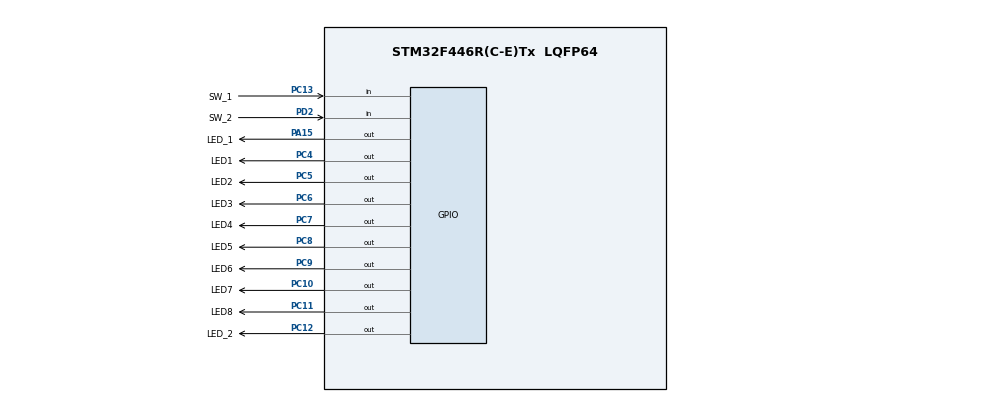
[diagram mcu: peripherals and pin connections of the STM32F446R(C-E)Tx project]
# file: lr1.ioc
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Mcu.Family=STM32F4
Mcu.Name=STM32F446R(C-E)Tx
Mcu.Package=LQFP64
NVIC.PriorityGroup=NVIC_PRIORITYGROUP_4
PA15.GPIO_Label=LED_1
PA15.Signal=GPIO_Output
PC10.GPIO_Label=LED7
PC10.Signal=GPIO_Output
PC11.GPIO_Label=LED8
PC11.Signal=GPIO_Output
PC12.GPIO_Label=LED_2
PC12.Signal=GPIO_Output
PC13.GPIO_Label=SW_1
PC13.Signal=GPIO_Input
PC4.GPIO_Label=LED1
PC4.Signal=GPIO_Output
PC5.GPIO_Label=LED2
PC5.Signal=GPIO_Output
PC6.GPIO_Label=LED3
PC6.Signal=GPIO_Output
PC7.GPIO_Label=LED4
PC7.Signal=GPIO_Output
PC8.GPIO_Label=LED5
PC8.Signal=GPIO_Output
PC9.GPIO_Label=LED6
PC9.Signal=GPIO_Output
PD2.GPIO_Label=SW_2
PD2.Signal=GPIO_Input
ProjectManager.HeapSize=0x200
ProjectManager.StackSize=0x400
ProjectManager.TargetToolchain=STM32CubeIDE
RCC.CortexFreq_Value=16000000
RCC.USBFreq_Value=96000000
RCC.VCOOutputFreq_Value=192000000
board=custom

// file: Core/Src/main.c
/* USER CODE BEGIN Header */
/**
  ******************************************************************************
  * @file           : main.c
  * @brief          : Main program body
  ******************************************************************************
  * @attention
  *
  * Copyright (c) 2024 STMicroelectronics.
  * All rights reserved.
  *
  * This software is licensed under terms that can be found in the LICENSE file
  * in the root directory of this software component.
  * If no LICENSE file comes with this software, it is provided AS-IS.
  *
  ******************************************************************************
  */
/* USER CODE END Header */
#include "main.h"

void SystemClock_Config(void);
static void MX_GPIO_Init(void);

int main(void)
{

  /* MCU Configuration--------------------------------------------------------*/

  /* Reset of all peripherals, Initializes the Flash interface and the Systick. */
  HAL_Init();

  /* Configure the system clock */
  SystemClock_Config();

  /* Initialize all configured peripherals */
  MX_GPIO_Init();

  /* Infinite loop */
  /* USER CODE BEGIN WHILE */
  uint32_t leds_pin_arr[] = {LED1_Pin, LED2_Pin, LED3_Pin, LED4_Pin, LED5_Pin, LED6_Pin, LED7_Pin, LED8_Pin};
  int32_t counter = 0;
  int32_t previous;
  GPIO_PinState prev_red_btn_pressed = 0;
  GPIO_PinState prev_blue_btn_pressed = 0;
  while (1)
  {
	  if(!counter) {
		  previous = 7;
	  } else {
		  previous = counter - 1;
	  }

	  GPIO_PinState blue_btn_pressed = HAL_GPIO_ReadPin(SW_1_GPIO_Port, SW_1_Pin);
	  GPIO_PinState red_btn_pressed = HAL_GPIO_ReadPin(SW_2_GPIO_Port, SW_2_Pin);
	  if(!blue_btn_pressed && prev_blue_btn_pressed) {
		  HAL_GPIO_WritePin(LED_1_GPIO_Port, LED_1_Pin, 1);
		  HAL_GPIO_WritePin(GPIOC, leds_pin_arr[previous], 1);
		  HAL_GPIO_WritePin(GPIOC, leds_pin_arr[counter], 0);

		  counter = previous;
	  }
	  else {
		  HAL_GPIO_WritePin(LED_1_GPIO_Port, LED_1_Pin, 0);

		  if(!red_btn_pressed && prev_red_btn_pressed) {
			  HAL_GPIO_WritePin(LED_2_GPIO_Port, LED_2_Pin, 1);
			  HAL_GPIO_WritePin(GPIOC, leds_pin_arr[previous], 0);
			  HAL_GPIO_WritePin(GPIOC, leds_pin_arr[counter], 1);

			  counter += 1;
			  counter %= 8;
		  }
		  else
			  HAL_GPIO_WritePin(LED_2_GPIO_Port, LED_2_Pin, 0);
	  }
	  prev_red_btn_pressed = red_btn_pressed;
	  prev_blue_btn_pressed = blue_btn_pressed;

	  HAL_Delay(75);
    /* USER CODE END WHILE */

  }
}

void SystemClock_Config(void)
{
  RCC_OscInitTypeDef RCC_OscInitStruct = {0};
  RCC_ClkInitTypeDef RCC_ClkInitStruct = {0};

  /** Configure the main internal regulator output voltage
  */
  __HAL_RCC_PWR_CLK_ENABLE();
  __HAL_PWR_VOLTAGESCALING_CONFIG(PWR_REGULATOR_VOLTAGE_SCALE3);

  /** Initializes the RCC Oscillators according to the specified parameters
  * in the RCC_OscInitTypeDef structure.
  */
  RCC_OscInitStruct.OscillatorType = RCC_OSCILLATORTYPE_HSI;
  RCC_OscInitStruct.HSIState = RCC_HSI_ON;
  RCC_OscInitStruct.HSICalibrationValue = RCC_HSICALIBRATION_DEFAULT;
  RCC_OscInitStruct.PLL.PLLState = RCC_PLL_NONE;
  if (HAL_RCC_OscConfig(&RCC_OscInitStruct) != HAL_OK)
  {
    Error_Handler();
  }

  /** Initializes the CPU, AHB and APB buses clocks
  */
  RCC_ClkInitStruct.ClockType = RCC_CLOCKTYPE_HCLK|RCC_CLOCKTYPE_SYSCLK
                              |RCC_CLOCKTYPE_PCLK1|RCC_CLOCKTYPE_PCLK2;
  RCC_ClkInitStruct.SYSCLKSource = RCC_SYSCLKSOURCE_HSI;
  RCC_ClkInitStruct.AHBCLKDivider = RCC_SYSCLK_DIV1;
  RCC_ClkInitStruct.APB1CLKDivider = RCC_HCLK_DIV1;
  RCC_ClkInitStruct.APB2CLKDivider = RCC_HCLK_DIV1;

  if (HAL_RCC_ClockConfig(&RCC_ClkInitStruct, FLASH_LATENCY_0) != HAL_OK)
  {
    Error_Handler();
  }
}

static void MX_GPIO_Init(void)
{
  GPIO_InitTypeDef GPIO_InitStruct = {0};

  /* GPIO Ports Clock Enable */
  __HAL_RCC_GPIOC_CLK_ENABLE();
  __HAL_RCC_GPIOA_CLK_ENABLE();
  __HAL_RCC_GPIOD_CLK_ENABLE();

  /*Configure GPIO pin Output Level */
  HAL_GPIO_WritePin(GPIOC, LED1_Pin|LED2_Pin|LED3_Pin|LED4_Pin
                          |LED5_Pin|LED6_Pin|LED7_Pin|LED8_Pin
                          |LED_2_Pin, GPIO_PIN_RESET);

  /*Configure GPIO pin Output Level */
  HAL_GPIO_WritePin(LED_1_GPIO_Port, LED_1_Pin, GPIO_PIN_RESET);

  /*Configure GPIO pin : SW_1_Pin */
  GPIO_InitStruct.Pin = SW_1_Pin;
  GPIO_InitStruct.Mode = GPIO_MODE_INPUT;
  GPIO_InitStruct.Pull = GPIO_NOPULL;
  HAL_GPIO_Init(SW_1_GPIO_Port, &GPIO_InitStruct);

  /*Configure GPIO pins : LED1_Pin LED2_Pin LED3_Pin LED4_Pin
                           LED5_Pin LED6_Pin LED7_Pin LED8_Pin
                           LED_2_Pin */
  GPIO_InitStruct.Pin = LED1_Pin|LED2_Pin|LED3_Pin|LED4_Pin
                          |LED5_Pin|LED6_Pin|LED7_Pin|LED8_Pin
                          |LED_2_Pin;
  GPIO_InitStruct.Mode = GPIO_MODE_OUTPUT_PP;
  GPIO_InitStruct.Pull = GPIO_NOPULL;
  GPIO_InitStruct.Speed = GPIO_SPEED_FREQ_LOW;
  HAL_GPIO_Init(GPIOC, &GPIO_InitStruct);

  /*Configure GPIO pin : LED_1_Pin */
  GPIO_InitStruct.Pin = LED_1_Pin;
  GPIO_InitStruct.Mode = GPIO_MODE_OUTPUT_PP;
  GPIO_InitStruct.Pull = GPIO_NOPULL;
  GPIO_InitStruct.Speed = GPIO_SPEED_FREQ_LOW;
  HAL_GPIO_Init(LED_1_GPIO_Port, &GPIO_InitStruct);

  /*Configure GPIO pin : SW_2_Pin */
  GPIO_InitStruct.Pin = SW_2_Pin;
  GPIO_InitStruct.Mode = GPIO_MODE_INPUT;
  GPIO_InitStruct.Pull = GPIO_NOPULL;
  HAL_GPIO_Init(SW_2_GPIO_Port, &GPIO_InitStruct);

}

void Error_Handler(void)
{
  __disable_irq();
  while (1)
  {
  }
}
